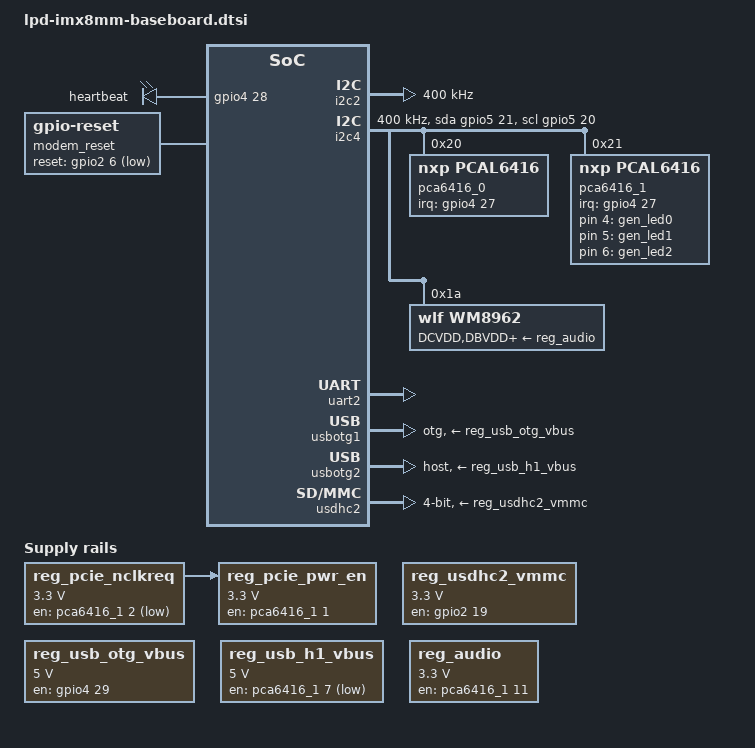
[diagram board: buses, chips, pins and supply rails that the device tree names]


/ {
	leds {
		compatible = "gpio-leds";

		led0 {
			label = "gen_led0";
			gpios = <&pca6416_1 4 GPIO_ACTIVE_HIGH>;
			default-state = "none";
		};

		led1 {
			label = "gen_led1";
			gpios = <&pca6416_1 5 GPIO_ACTIVE_HIGH>;
			default-state = "none";
		};

		led2 {
			label = "gen_led2";
			gpios = <&pca6416_1 6 GPIO_ACTIVE_HIGH>;
			default-state = "none";
		};

		led3 {
			pinctrl-names = "default";
			pinctrl-0 = <&pinctrl_led3>;
			label = "heartbeat";
			gpios = <&gpio4 28 GPIO_ACTIVE_HIGH>;
			linux,default-trigger = "heartbeat";
		};
	};

	modem_reset: modem-reset {
		compatible = "gpio-reset";
		reset-gpios = <&gpio2 6 GPIO_ACTIVE_LOW>;
		reset-delay-us = <2000>;
		reset-post-delay-ms = <40>;
		#reset-cells = <0>;
	};

	reg_pcie_pwr_en: regulator-pci_pwr_en {
		compatible = "regulator-fixed";
		regulator-name = "pci_pwr_en";
		regulator-min-microvolt = <3300000>;
		regulator-max-microvolt = <3300000>;
		enable-active-high;
		gpio = <&pca6416_1 1 GPIO_ACTIVE_HIGH>;
		vin-supply = <&reg_pcie_nclkreq>;
		startup-delay-us = <5000000>;
	};

	reg_pcie_nclkreq: regulator-pcie_nclkreq {
		compatible = "regulator-fixed";
		regulator-name = "pcie_nclkreq";
		regulator-min-microvolt = <3300000>;
		regulator-max-microvolt = <3300000>;
		gpio = <&pca6416_1 2 GPIO_ACTIVE_LOW>;
	};

	reg_usdhc2_vmmc: regulator-usdhc2 {
		compatible = "regulator-fixed";
		pinctrl-names = "default";
		pinctrl-0 = <&pinctrl_reg_usdhc2_vmmc>;
		regulator-name = "VSD_3V3";
		regulator-min-microvolt = <3300000>;
		regulator-max-microvolt = <3300000>;
		gpio = <&gpio2 19 GPIO_ACTIVE_HIGH>;
		enable-active-high;
	};

	reg_usb_otg_vbus: usb_otg_vbus {
		compatible = "regulator-fixed";
		pinctrl-0 = <&pinctrl_reg_usb_otg>;
		regulator-name = "usb_otg_vbus";
		regulator-min-microvolt = <5000000>;
		regulator-max-microvolt = <5000000>;
		gpio = <&gpio4 29 GPIO_ACTIVE_HIGH>;
		enable-active-high;
	};

	reg_usb_h1_vbus: regulator-usbh1vbus {
		compatible = "regulator-fixed";
		regulator-name = "usb_h1_vbus";
		regulator-min-microvolt = <5000000>;
		regulator-max-microvolt = <5000000>;
		gpio = <&pca6416_1 7 GPIO_ACTIVE_LOW>; /* nRST */
		enable-active-low;
	};

	reg_audio: regulator-audio {
		compatible = "regulator-fixed";
		regulator-name = "3v3_aud";
		regulator-min-microvolt = <3300000>;
		regulator-max-microvolt = <3300000>;
		gpio = <&pca6416_1 11 GPIO_ACTIVE_HIGH>;
		enable-active-high;
	};

	sound {
		compatible = "fsl,imx-audio-wm8962";
		model = "wm8962-audio";
		cpu-dai = <&sai3>;
		audio-codec = <&wm8962>;
		audio-routing =
			"Headphone Jack", "HPOUTL",
			"Headphone Jack", "HPOUTR",
			"Ext Spk", "SPKOUTL",
			"Ext Spk", "SPKOUTR",
			"AMIC", "MICBIAS",
			"IN3R", "AMIC";
	};
};

&iomuxc {
	pinctrl-names = "default";

	imx8mm-logicpd {
		pinctrl_csi_pwn: csi_pwn_grp {
			fsl,pins = <
				MX8MM_IOMUXC_GPIO1_IO07_GPIO1_IO7		0x19
			>;
		};

		pinctrl_csi_rst: csi_rst_grp {
			fsl,pins = <
				MX8MM_IOMUXC_GPIO1_IO06_GPIO1_IO6		0x19
				MX8MM_IOMUXC_GPIO1_IO14_CCMSRCGPCMIX_CLKO1	0x59
			>;
		};

		pinctrl_i2c2: i2c2grp {
			fsl,pins = <
				MX8MM_IOMUXC_I2C2_SCL_I2C2_SCL			0x400001c3
				MX8MM_IOMUXC_I2C2_SDA_I2C2_SDA			0x400001c3
			>;
		};

		/* Added for LogicPD Phoenix SOM*/
		pinctrl_i2c4: i2c4grp {
			fsl,pins = <
				MX8MM_IOMUXC_I2C4_SCL_I2C4_SCL			0x400001c3
				MX8MM_IOMUXC_I2C4_SDA_I2C4_SDA			0x400001c3
			>;
		};

		pinctrl_led3: led3grp {
			fsl,pins = <
				MX8MM_IOMUXC_SAI3_RXFS_GPIO4_IO28	0x41
			>;
		};

		pinctrl_pcie0: pcie0grp {
			fsl,pins = <
				MX8MM_IOMUXC_GPIO1_IO05_GPIO1_IO5	0x41
				MX8MM_IOMUXC_SAI2_RXFS_GPIO4_IO21	0x41
			>;
		};

		pinctrl_reg_usb_otg: reg_usb_otg {
			fsl,pins = <
				MX8MM_IOMUXC_SAI3_RXC_GPIO4_IO29     0x19
			>;
		};

		pinctrl_reg_usdhc2_vmmc: regusdhc2vmmc {
			fsl,pins = <
				MX8MM_IOMUXC_SD2_RESET_B_GPIO2_IO19	0x41
			>;
		};

		pinctrl_usbotg: usbotggrp {
			fsl,pins = <
				MX8MM_IOMUXC_GPIO1_IO10_USB1_OTG_ID     0x41
			>;
		};

		pinctrl_i2c4_gpio: i2c4grp-gpio {
			fsl,pins = <
				MX8MM_IOMUXC_I2C4_SCL_GPIO5_IO20        	0x1c3
				MX8MM_IOMUXC_I2C4_SDA_GPIO5_IO21        	0x1c3
			>;
		};

		pinctrl_pcal6414: pcal6414-gpio {
			fsl,pins = <
				MX8MM_IOMUXC_SAI2_MCLK_GPIO4_IO27        	0x19
			>;
		};

		pinctrl_sai3: sai3grp {
			fsl,pins = <
				MX8MM_IOMUXC_SAI3_TXFS_SAI3_TX_SYNC     0xd6
				MX8MM_IOMUXC_SAI3_TXC_SAI3_TX_BCLK      0xd6
				MX8MM_IOMUXC_SAI3_MCLK_SAI3_MCLK        0xd6
				MX8MM_IOMUXC_SAI3_TXD_SAI3_TX_DATA0     0xd6
				MX8MM_IOMUXC_SAI3_RXD_SAI3_RX_DATA0	0xd6
			>;
		};

		pinctrl_uart2: uart2grp {
			fsl,pins = <
				MX8MM_IOMUXC_UART2_RXD_UART2_DCE_RX	0x140
				MX8MM_IOMUXC_UART2_TXD_UART2_DCE_TX	0x140
			>;
		};

		pinctrl_uart3: uart3grp {
			fsl,pins = <
				MX8MM_IOMUXC_ECSPI1_SCLK_UART3_DCE_RX		0x140
				MX8MM_IOMUXC_ECSPI1_MOSI_UART3_DCE_TX		0x140
				MX8MM_IOMUXC_ECSPI1_SS0_UART3_DCE_RTS_B		0x140
				MX8MM_IOMUXC_ECSPI1_MISO_UART3_DCE_CTS_B	0x140
			>;
		};

		pinctrl_usdhc2_gpio: usdhc2grpgpio {
			fsl,pins = <
				MX8MM_IOMUXC_SD2_CD_B_USDHC2_CD_B	0x41
			>;
		};

		pinctrl_usdhc2: usdhc2grp {
			fsl,pins = <
				MX8MM_IOMUXC_SD2_CLK_USDHC2_CLK		0x190
				MX8MM_IOMUXC_SD2_CMD_USDHC2_CMD		0x1d0
				MX8MM_IOMUXC_SD2_DATA0_USDHC2_DATA0	0x1d0
				MX8MM_IOMUXC_SD2_DATA1_USDHC2_DATA1	0x1d0
				MX8MM_IOMUXC_SD2_DATA2_USDHC2_DATA2	0x1d0
				MX8MM_IOMUXC_SD2_DATA3_USDHC2_DATA3	0x1d0
				MX8MM_IOMUXC_GPIO1_IO04_USDHC2_VSELECT	0x1d0
			>;
		};

		pinctrl_usdhc2_100mhz: usdhc2grp100mhz {
			fsl,pins = <
				MX8MM_IOMUXC_SD2_CLK_USDHC2_CLK		0x194
				MX8MM_IOMUXC_SD2_CMD_USDHC2_CMD		0x1d4
				MX8MM_IOMUXC_SD2_DATA0_USDHC2_DATA0	0x1d4
				MX8MM_IOMUXC_SD2_DATA1_USDHC2_DATA1	0x1d4
				MX8MM_IOMUXC_SD2_DATA2_USDHC2_DATA2	0x1d4
				MX8MM_IOMUXC_SD2_DATA3_USDHC2_DATA3	0x1d4
				MX8MM_IOMUXC_GPIO1_IO04_USDHC2_VSELECT	0x1d0
			>;
		};

		pinctrl_usdhc2_200mhz: usdhc2grp200mhz {
			fsl,pins = <
				MX8MM_IOMUXC_SD2_CLK_USDHC2_CLK		0x196
				MX8MM_IOMUXC_SD2_CMD_USDHC2_CMD		0x1d6
				MX8MM_IOMUXC_SD2_DATA0_USDHC2_DATA0	0x1d6
				MX8MM_IOMUXC_SD2_DATA1_USDHC2_DATA1	0x1d6
				MX8MM_IOMUXC_SD2_DATA2_USDHC2_DATA2	0x1d6
				MX8MM_IOMUXC_SD2_DATA3_USDHC2_DATA3	0x1d6
				MX8MM_IOMUXC_GPIO1_IO04_USDHC2_VSELECT	0x1d0
			>;
		};
	};
};

&i2c2 {
	clock-frequency = <400000>;
	pinctrl-names = "default";
	pinctrl-0 = <&pinctrl_i2c2>;
	status = "okay";
};

&i2c4 {

	clock-frequency = <400000>;
	pinctrl-names = "default", "gpio";
	pinctrl-0 = <&pinctrl_i2c4>;
	pinctrl-1 = <&pinctrl_i2c4_gpio>;
	scl-gpios = <&gpio5 20 GPIO_ACTIVE_HIGH>;
	sda-gpios = <&gpio5 21 GPIO_ACTIVE_HIGH>;
	status = "okay";

	pca6416_0: gpio@20 {
		compatible = "nxp,pcal6416";
		reg = <0x20>;
		pinctrl-names = "default";
		pinctrl-0 = <&pinctrl_pcal6414>;
		gpio-controller;
		#gpio-cells = <2>;
		interrupt-parent = <&gpio4>;
		interrupts = <27 IRQ_TYPE_LEVEL_LOW>;
	};

	pca6416_1: gpio@21 {
		compatible = "nxp,pcal6416";
		reg = <0x21>;
		gpio-controller;
		#gpio-cells = <2>;
		interrupt-parent = <&gpio4>;
		interrupts = <27 IRQ_TYPE_LEVEL_LOW>;
	};

	wm8962: audio-codec@1a {
		compatible = "wlf,wm8962";
		reg = <0x1a>;
		clocks = <&clk IMX8MM_CLK_SAI3_ROOT>;
		clock-names = "xclk";
		DCVDD-supply = <&reg_audio>;
		DBVDD-supply = <&reg_audio>;
		AVDD-supply = <&reg_audio>;
		CPVDD-supply = <&reg_audio>;
		MICVDD-supply = <&reg_audio>;
		PLLVDD-supply = <&reg_audio>;
		SPKVDD1-supply = <&reg_audio>;
		SPKVDD2-supply = <&reg_audio>;
		gpio-cfg = <
			0x0000 /* 0:Default */
			0x0000 /* 1:Default */
			0x0000 /* 2:FN_DMICCLK */
			0x0000 /* 3:Default */
			0x0000 /* 4:FN_DMICCDAT */
			0x0000 /* 5:Default */
		>;
	};
};

&uart2 { /* console */
	pinctrl-names = "default";
	pinctrl-0 = <&pinctrl_uart2>;
	status = "okay";
};

&usbotg1 {
	vbus-supply = <&reg_usb_otg_vbus>;
	pinctrl-names = "default";
	pinctrl-0 = <&pinctrl_usbotg>;
	disable-over-current;
	dr_mode="otg";
	status = "okay";
};

&usbotg2 {
	vbus-supply = <&reg_usb_h1_vbus>;
	pinctrl-names = "default";
	disable-over-current;
	dr_mode="host";
	/*gpio = <&pca6416_1 7 0>;*/ /* nRST */
	status = "okay";
};

/*rfee  from uboot*/
&usdhc2 {
	pinctrl-names = "default", "state_100mhz", "state_200mhz";
	pinctrl-0 = <&pinctrl_usdhc2>, <&pinctrl_usdhc2_gpio>;
	pinctrl-1 = <&pinctrl_usdhc2_100mhz>, <&pinctrl_usdhc2_gpio>;
	pinctrl-2 = <&pinctrl_usdhc2_200mhz>, <&pinctrl_usdhc2_gpio>;
	bus-width = <4>;
	vmmc-supply = <&reg_usdhc2_vmmc>;
	status = "okay";
};
